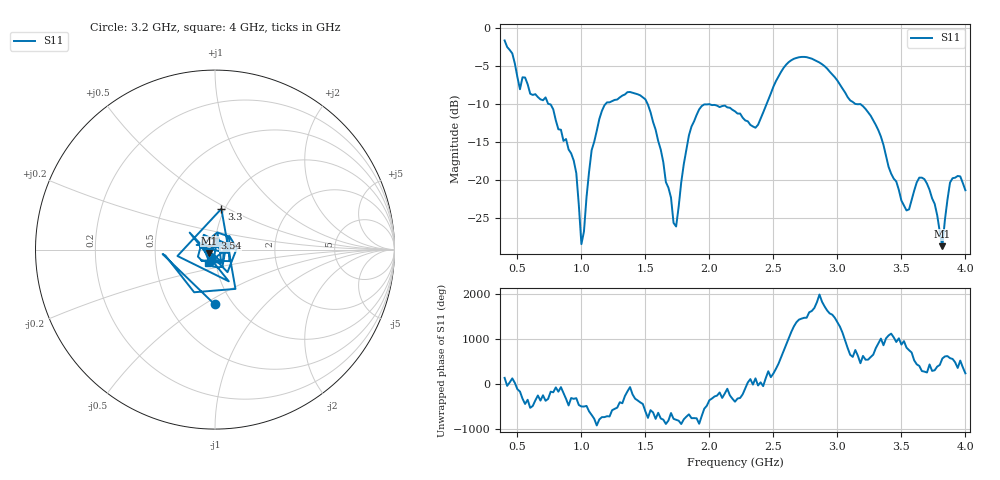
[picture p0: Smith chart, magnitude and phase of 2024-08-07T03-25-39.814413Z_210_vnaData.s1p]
!Created with skrf (http://scikit-rf.org).
# Hz S RI R 50.0
!freq ReS11 ImS11
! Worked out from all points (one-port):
!   181 points, 400 MHz to 4 GHz, reference 50 ohm
!   lowest |S11| = -28.7 dB at 3.82 GHz (marker M1), VSWR 1.08, Z = 46.9 - j1.79 ohm
!   |S11| at or under -10 dB: 743.3 MHz to 1.189 GHz (446 MHz wide, 46.2 % of centre); 1.517 GHz to 2.447 GHz (930.1 MHz wide, 46.9 % of centre); 3.14 GHz to end of sweep
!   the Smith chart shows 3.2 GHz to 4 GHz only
!   S11 on the Smith chart (normalised r, x): 3.2 GHz: 0.83, -0.56; 3.3 GHz: 0.96, +0.46; 3.54 GHz: 0.99, +0.12; 4 GHz: 0.91, -0.14
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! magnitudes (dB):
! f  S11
! 400 MHz  -1.7
! 520 MHz  -8.1
! 720 MHz  -9.1
! 860 MHz  -14.9
! 960 MHz  -19.1
! 1 GHz  -28.4
! 1.08 GHz  -16.1
! 1.14 GHz  -12.0
! 1.3 GHz  -9.1
! 1.5 GHz  -9.4
! 1.62 GHz  -16.0
! 1.72 GHz  -25.7
! 1.76 GHz  -23.5
! 1.84 GHz  -14.1
! 1.92 GHz  -10.7
! 2.2 GHz  -11.0
! 2.36 GHz  -13.1
! 2.66 GHz  -4.1
! 2.88 GHz  -4.8
! 3.1 GHz  -9.5
! 3.2 GHz  -10.3
! 3.3 GHz  -12.8
! 3.54 GHz  -24.0
! 3.56 GHz  -23.9
! 3.68 GHz  -19.9
! 3.82 GHz  -28.7
! 3.88 GHz  -20.3
! 4 GHz  -21.4
